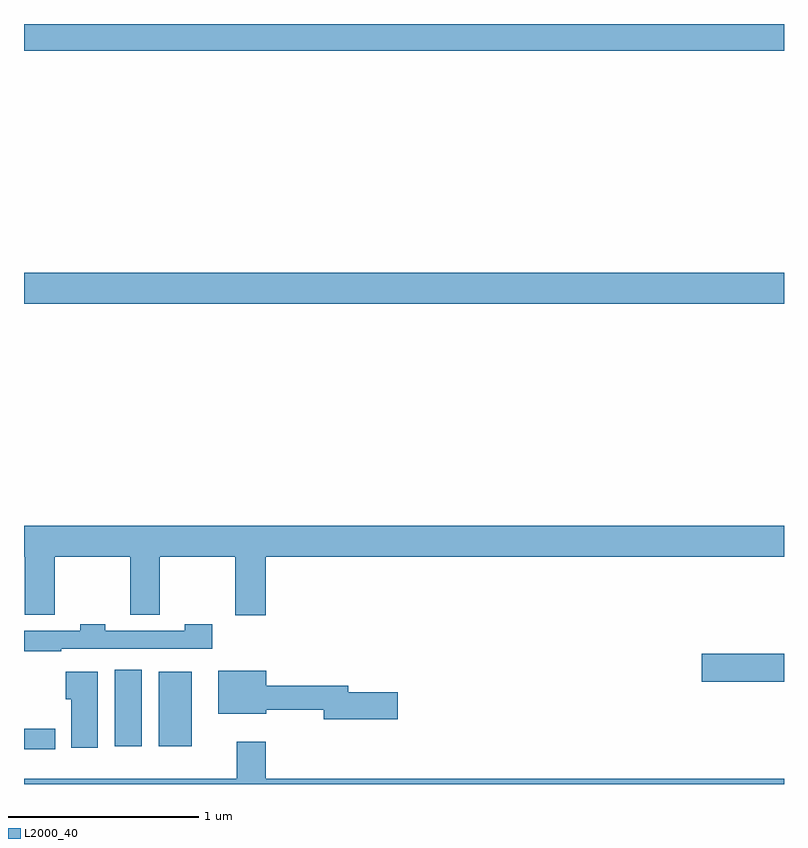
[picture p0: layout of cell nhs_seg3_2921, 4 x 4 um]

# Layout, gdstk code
import gdstk
lib = gdstk.Library(unit=1e-6, precision=1e-09)
def R(c, l, rs):  # rectangles x0, y0, x1, y1
    for r in rs: c.add(gdstk.rectangle(r[:2], r[2:], *l))
def P(c, l, *ps):  # polygons
    for p in ps: c.add(gdstk.Polygon(p, *l))
L2000_40 = (2000, 40)

nhs_seg3_2921 = lib.new_cell('nhs_seg3_2921')
R(nhs_seg3_2921, L2000_40, [(263,686.582,263.164,686.692), (263.477,686.6,263.62,687.001), (263.708,686.6,263.884,686.992), (266.568,686.939,267,687.086), (263,688.928,267,689.092), (263,690.26,267,690.4)])
P(nhs_seg3_2921, L2000_40, [(264.272,687.596),(267,687.596),(267,687.76),(263,687.76),(263,687.596),(263.003,687.596),(263.003,687.292),(263.162,687.292),(263.162,687.596),(263.56,687.596),(263.56,687.292),(263.714,687.292),(263.714,687.596),(264.112,687.596),(264.112,687.288),(264.272,687.288)],
  [(263.195,687.111),(263.992,687.111),(263.992,687.24),(263.847,687.24),(263.847,687.207),(263.427,687.207),(263.427,687.24),(263.295,687.24),(263.295,687.207),(263,687.207),(263,687.099),(263.195,687.099)],
  [(264.967,686.882),(264.706,686.882),(264.706,686.918),(264.274,686.918),(264.274,686.995),(264.023,686.995),(264.023,686.771),(264.274,686.771),(264.274,686.79),(264.578,686.79),(264.578,686.74),(264.967,686.74)],
  [(263.389,686.992),(263.219,686.992),(263.219,686.845),(263.249,686.845),(263.249,686.592),(263.389,686.592)],
  [(267,686.428),(264.272,686.428),(264.272,686.623),(264.119,686.623),(264.119,686.428),(263,686.428),(263,686.4),(267,686.4)])

lib.write_gds('nhs_seg3_2921.gds')
